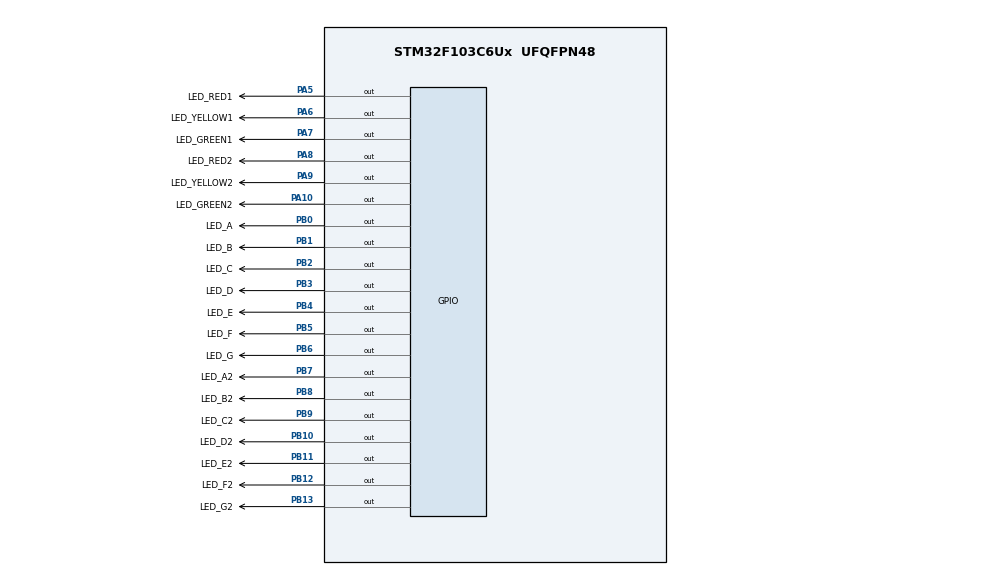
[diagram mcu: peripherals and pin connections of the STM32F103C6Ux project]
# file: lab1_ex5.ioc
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Mcu.Family=STM32F1
Mcu.Name=STM32F103C6Ux
Mcu.Package=UFQFPN48
NVIC.PriorityGroup=NVIC_PRIORITYGROUP_4
PA10.GPIO_Label=LED_GREEN2
PA10.Signal=GPIO_Output
PA5.GPIO_Label=LED_RED1
PA5.Signal=GPIO_Output
PA6.GPIO_Label=LED_YELLOW1
PA6.Signal=GPIO_Output
PA7.GPIO_Label=LED_GREEN1
PA7.Signal=GPIO_Output
PA8.GPIO_Label=LED_RED2
PA8.Signal=GPIO_Output
PA9.GPIO_Label=LED_YELLOW2
PA9.Signal=GPIO_Output
PB0.GPIO_Label=LED_A
PB0.Signal=GPIO_Output
PB1.GPIO_Label=LED_B
PB1.Signal=GPIO_Output
PB10.GPIO_Label=LED_D2
PB10.Signal=GPIO_Output
PB11.GPIO_Label=LED_E2
PB11.Signal=GPIO_Output
PB12.GPIO_Label=LED_F2
PB12.Signal=GPIO_Output
PB13.GPIO_Label=LED_G2
PB13.Signal=GPIO_Output
PB2.GPIO_Label=LED_C
PB2.Signal=GPIO_Output
PB3.GPIO_Label=LED_D
PB3.Signal=GPIO_Output
PB4.GPIO_Label=LED_E
PB4.Signal=GPIO_Output
PB5.GPIO_Label=LED_F
PB5.Signal=GPIO_Output
PB6.GPIO_Label=LED_G
PB6.Signal=GPIO_Output
PB7.GPIO_Label=LED_A2
PB7.Signal=GPIO_Output
PB8.GPIO_Label=LED_B2
PB8.Signal=GPIO_Output
PB9.GPIO_Label=LED_C2
PB9.Signal=GPIO_Output
ProjectManager.HeapSize=0x200
ProjectManager.StackSize=0x400
ProjectManager.TargetToolchain=STM32CubeIDE
RCC.APB1Freq_Value=8000000
RCC.APB2Freq_Value=8000000
VP_SYS_VS_ND.Mode=No_Debug
board=custom

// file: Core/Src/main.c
/* USER CODE BEGIN Header */
/**
  ******************************************************************************
  * @file           : main.c
  * @brief          : Main program body
  ******************************************************************************
  * @attention
  *
  * <h2><center>&copy; Copyright (c) 2023 STMicroelectronics.
  * All rights reserved.</center></h2>
  *
  * This software component is licensed by ST under BSD 3-Clause license,
  * the "License"; You may not use this file except in compliance with the
  * License. You may obtain a copy of the License at:
  *                        opensource.org/licenses/BSD-3-Clause
  *
  ******************************************************************************
  */
/* USER CODE END Header */
#include "main.h"

void SystemClock_Config(void);
static void MX_GPIO_Init(void);

int main(void)
{

  /* MCU Configuration--------------------------------------------------------*/

  /* Reset of all peripherals, Initializes the Flash interface and the Systick. */
  HAL_Init();

  /* Configure the system clock */
  SystemClock_Config();

  /* Initialize all configured peripherals */
  MX_GPIO_Init();

  /* Infinite loop */
  /* USER CODE BEGIN WHILE */

  void display7SEG(int num){
  	  HAL_GPIO_WritePin(LED_A_GPIO_Port, LED_A_Pin, RESET);
  	  HAL_GPIO_WritePin(LED_B_GPIO_Port, LED_B_Pin, RESET);
  	  HAL_GPIO_WritePin(LED_C_GPIO_Port, LED_C_Pin, RESET);
  	  HAL_GPIO_WritePin(LED_D_GPIO_Port, LED_D_Pin, RESET);
  	  HAL_GPIO_WritePin(LED_E_GPIO_Port, LED_E_Pin, RESET);
  	  HAL_GPIO_WritePin(LED_F_GPIO_Port, LED_F_Pin, RESET);
  	  HAL_GPIO_WritePin(LED_G_GPIO_Port, LED_G_Pin, RESET);
  	  if (num == 0 ){
  		  HAL_GPIO_WritePin(LED_G_GPIO_Port, LED_G_Pin, SET);
  	  }
  	  else if (num == 1){
  		  HAL_GPIO_WritePin(LED_A_GPIO_Port, LED_A_Pin, SET);
  		  HAL_GPIO_WritePin(LED_D_GPIO_Port, LED_D_Pin, SET);
  		  HAL_GPIO_WritePin(LED_E_GPIO_Port, LED_E_Pin, SET);
  		  HAL_GPIO_WritePin(LED_F_GPIO_Port, LED_F_Pin, SET);
  		  HAL_GPIO_WritePin(LED_G_GPIO_Port, LED_G_Pin, SET);
  	  }
  	  else if (num == 2){
  		  HAL_GPIO_WritePin(LED_C_GPIO_Port, LED_C_Pin, SET);
  		  HAL_GPIO_WritePin(LED_F_GPIO_Port, LED_F_Pin, SET);
  	  }
  	  else if (num == 3){
  		  HAL_GPIO_WritePin(LED_E_GPIO_Port, LED_E_Pin, SET);
  		  HAL_GPIO_WritePin(LED_F_GPIO_Port, LED_F_Pin, SET);
  	  }
  	  else if (num == 4){
  		  HAL_GPIO_WritePin(LED_A_GPIO_Port, LED_A_Pin, SET);
  		  HAL_GPIO_WritePin(LED_D_GPIO_Port, LED_D_Pin, SET);
  		  HAL_GPIO_WritePin(LED_E_GPIO_Port, LED_E_Pin, SET);
  	  }
  	  else if (num == 5){
  		  HAL_GPIO_WritePin(LED_B_GPIO_Port, LED_B_Pin, SET);
  		  HAL_GPIO_WritePin(LED_E_GPIO_Port, LED_E_Pin, SET);
  	  }
  	  else if (num == 6){
  		  HAL_GPIO_WritePin(LED_B_GPIO_Port, LED_B_Pin, SET);
  	  }
  	  else if (num == 7){
  		  HAL_GPIO_WritePin(LED_D_GPIO_Port, LED_D_Pin, SET);
  		  HAL_GPIO_WritePin(LED_E_GPIO_Port, LED_E_Pin, SET);
  		  HAL_GPIO_WritePin(LED_F_GPIO_Port, LED_F_Pin, SET);
  		  HAL_GPIO_WritePin(LED_G_GPIO_Port, LED_G_Pin, SET);
  	  }
  	  else if (num == 8){

  	  }
  	  else if (num == 9){
  		  HAL_GPIO_WritePin(LED_E_GPIO_Port, LED_E_Pin, SET);
  	  }
    }

  //display7SEG2 to display LED7SEGMENT2
    void display7SEG2(int num){
    	  HAL_GPIO_WritePin(LED_A2_GPIO_Port, LED_A2_Pin, RESET);
    	  HAL_GPIO_WritePin(LED_B2_GPIO_Port, LED_B2_Pin, RESET);
    	  HAL_GPIO_WritePin(LED_C2_GPIO_Port, LED_C2_Pin, RESET);
    	  HAL_GPIO_WritePin(LED_D2_GPIO_Port, LED_D2_Pin, RESET);
    	  HAL_GPIO_WritePin(LED_E2_GPIO_Port, LED_E2_Pin, RESET);
    	  HAL_GPIO_WritePin(LED_F2_GPIO_Port, LED_F2_Pin, RESET);
    	  HAL_GPIO_WritePin(LED_G2_GPIO_Port, LED_G2_Pin, RESET);
    	  if (num == 0 ){
    		  HAL_GPIO_WritePin(LED_G2_GPIO_Port, LED_G2_Pin, SET);
    	  }
    	  else if (num == 1){
    		  HAL_GPIO_WritePin(LED_A2_GPIO_Port, LED_A2_Pin, SET);
    		  HAL_GPIO_WritePin(LED_D2_GPIO_Port, LED_D2_Pin, SET);
    		  HAL_GPIO_WritePin(LED_E2_GPIO_Port, LED_E2_Pin, SET);
    		  HAL_GPIO_WritePin(LED_F2_GPIO_Port, LED_F2_Pin, SET);
    		  HAL_GPIO_WritePin(LED_G2_GPIO_Port, LED_G2_Pin, SET);
    	  }
    	  else if (num == 2){
    		  HAL_GPIO_WritePin(LED_C2_GPIO_Port, LED_C2_Pin, SET);
    		  HAL_GPIO_WritePin(LED_F2_GPIO_Port, LED_F2_Pin, SET);
    	  }
    	  else if (num == 3){
    		  HAL_GPIO_WritePin(LED_E2_GPIO_Port, LED_E2_Pin, SET);
    		  HAL_GPIO_WritePin(LED_F2_GPIO_Port, LED_F2_Pin, SET);
    	  }
    	  else if (num == 4){
    		  HAL_GPIO_WritePin(LED_A2_GPIO_Port, LED_A2_Pin, SET);
    		  HAL_GPIO_WritePin(LED_D2_GPIO_Port, LED_D2_Pin, SET);
    		  HAL_GPIO_WritePin(LED_E2_GPIO_Port, LED_E2_Pin, SET);
    	  }
    	  else if (num == 5){
    		  HAL_GPIO_WritePin(LED_B2_GPIO_Port, LED_B2_Pin, SET);
    		  HAL_GPIO_WritePin(LED_E2_GPIO_Port, LED_E2_Pin, SET);
    	  }
    	  else if (num == 6){
    		  HAL_GPIO_WritePin(LED_B2_GPIO_Port, LED_B2_Pin, SET);
    	  }
    	  else if (num == 7){
    		  HAL_GPIO_WritePin(LED_D2_GPIO_Port, LED_D2_Pin, SET);
    		  HAL_GPIO_WritePin(LED_E2_GPIO_Port, LED_E2_Pin, SET);
    		  HAL_GPIO_WritePin(LED_F2_GPIO_Port, LED_F2_Pin, SET);
    		  HAL_GPIO_WritePin(LED_G2_GPIO_Port, LED_G2_Pin, SET);
    	  }
    	  else if (num == 8){

    	  }
    	  else if (num == 9){
    		  HAL_GPIO_WritePin(LED_E2_GPIO_Port, LED_E2_Pin, SET);
    	  }
      }

    int time = 0;
    int status = 0;
   // status = 0(red1);	status = 1(green1);	status = 2(yellow1)
  while (1)
  {
	  if(status == 0){
	 		  if(time < 3 ){
	 		      HAL_GPIO_WritePin(LED_RED1_GPIO_Port, LED_RED1_Pin, SET);
	 			  HAL_GPIO_WritePin(LED_YELLOW1_GPIO_Port, LED_YELLOW1_Pin, RESET);
	 			  HAL_GPIO_WritePin(LED_GREEN1_GPIO_Port, LED_GREEN1_Pin, RESET);
	 			  HAL_GPIO_WritePin(LED_RED2_GPIO_Port, LED_RED2_Pin, RESET);
	 			  HAL_GPIO_WritePin(LED_YELLOW2_GPIO_Port, LED_YELLOW2_Pin, RESET);
	 			  HAL_GPIO_WritePin(LED_GREEN2_GPIO_Port, LED_GREEN2_Pin, SET);
	 			  display7SEG(5-time);
	 			  display7SEG2(3-time);
	 			  time++;

	 		  }
	 		  else if(time >=3 && time < 4){
	 			  HAL_GPIO_WritePin(LED_RED1_GPIO_Port, LED_RED1_Pin, SET);
	 			  HAL_GPIO_WritePin(LED_YELLOW1_GPIO_Port, LED_YELLOW1_Pin, RESET);
	 			  HAL_GPIO_WritePin(LED_GREEN1_GPIO_Port, LED_GREEN1_Pin, RESET);
	 			  HAL_GPIO_WritePin(LED_RED2_GPIO_Port, LED_RED2_Pin, RESET);
	 			  HAL_GPIO_WritePin(LED_YELLOW2_GPIO_Port, LED_YELLOW2_Pin, SET);
	 			  HAL_GPIO_WritePin(LED_GREEN2_GPIO_Port, LED_GREEN2_Pin, RESET);
	 			  display7SEG(5-time);
	 			  display7SEG2(5-time);
	 			  time++;

	 		  }
	 		  else {
	 			 display7SEG(5-time);
	 			 display7SEG2(5-time);
	 		     time = 0;
	 		     status = 1;
	 		  }

	 	  }
	 	  else if(status == 1){
	 		  if(time<2){
	 			  HAL_GPIO_WritePin(LED_RED1_GPIO_Port, LED_RED1_Pin, RESET);
	 			  HAL_GPIO_WritePin(LED_YELLOW1_GPIO_Port, LED_YELLOW1_Pin, RESET);
	 			  HAL_GPIO_WritePin(LED_GREEN1_GPIO_Port, LED_GREEN1_Pin, SET);
	 			  HAL_GPIO_WritePin(LED_RED2_GPIO_Port, LED_RED2_Pin, SET);
	 			  HAL_GPIO_WritePin(LED_YELLOW2_GPIO_Port, LED_YELLOW2_Pin, RESET);
	 			  HAL_GPIO_WritePin(LED_GREEN2_GPIO_Port, LED_GREEN2_Pin, RESET);
	 			  display7SEG(3-time);
	 			  display7SEG2(5-time);
	 			  time++;
	 		  }
	 		  else {
	 			  display7SEG(3-time);
	 			  display7SEG2(5-time);
	 			  time = 0;
	 			  status = 2;
	 		  }
	 	  }
	 	  else if(status == 2){
	 		  if(time<1){
	 		  HAL_GPIO_WritePin(LED_RED1_GPIO_Port, LED_RED1_Pin, RESET);
	 		  HAL_GPIO_WritePin(LED_YELLOW1_GPIO_Port, LED_YELLOW1_Pin, SET);
	 		  HAL_GPIO_WritePin(LED_GREEN1_GPIO_Port, LED_GREEN1_Pin, RESET);
	 		  HAL_GPIO_WritePin(LED_RED2_GPIO_Port, LED_RED2_Pin, SET);
	 		  HAL_GPIO_WritePin(LED_YELLOW2_GPIO_Port, LED_YELLOW2_Pin, RESET);
	 		  HAL_GPIO_WritePin(LED_GREEN2_GPIO_Port, LED_GREEN2_Pin, RESET);
	 		  display7SEG(2-time);
	 		  display7SEG2(2-time);
	 		  time++;
	 		  }
	 		  else{
	 			  display7SEG(2-time);
	 			  display7SEG2(2-time);
	 			  time=0;
	 			  status = 0;
	 		  }
	 	  }
	 	  HAL_Delay(1000);
    /* USER CODE END WHILE */

  }
}

void SystemClock_Config(void)
{
  RCC_OscInitTypeDef RCC_OscInitStruct = {0};
  RCC_ClkInitTypeDef RCC_ClkInitStruct = {0};

  /** Initializes the RCC Oscillators according to the specified parameters
  * in the RCC_OscInitTypeDef structure.
  */
  RCC_OscInitStruct.OscillatorType = RCC_OSCILLATORTYPE_HSI;
  RCC_OscInitStruct.HSIState = RCC_HSI_ON;
  RCC_OscInitStruct.HSICalibrationValue = RCC_HSICALIBRATION_DEFAULT;
  RCC_OscInitStruct.PLL.PLLState = RCC_PLL_NONE;
  if (HAL_RCC_OscConfig(&RCC_OscInitStruct) != HAL_OK)
  {
    Error_Handler();
  }
  /** Initializes the CPU, AHB and APB buses clocks
  */
  RCC_ClkInitStruct.ClockType = RCC_CLOCKTYPE_HCLK|RCC_CLOCKTYPE_SYSCLK
                              |RCC_CLOCKTYPE_PCLK1|RCC_CLOCKTYPE_PCLK2;
  RCC_ClkInitStruct.SYSCLKSource = RCC_SYSCLKSOURCE_HSI;
  RCC_ClkInitStruct.AHBCLKDivider = RCC_SYSCLK_DIV1;
  RCC_ClkInitStruct.APB1CLKDivider = RCC_HCLK_DIV1;
  RCC_ClkInitStruct.APB2CLKDivider = RCC_HCLK_DIV1;

  if (HAL_RCC_ClockConfig(&RCC_ClkInitStruct, FLASH_LATENCY_0) != HAL_OK)
  {
    Error_Handler();
  }
}

static void MX_GPIO_Init(void)
{
  GPIO_InitTypeDef GPIO_InitStruct = {0};

  /* GPIO Ports Clock Enable */
  __HAL_RCC_GPIOA_CLK_ENABLE();
  __HAL_RCC_GPIOB_CLK_ENABLE();

  /*Configure GPIO pin Output Level */
  HAL_GPIO_WritePin(GPIOA, LED_RED1_Pin|LED_YELLOW1_Pin|LED_GREEN1_Pin|LED_RED2_Pin
                          |LED_YELLOW2_Pin|LED_GREEN2_Pin, GPIO_PIN_RESET);

  /*Configure GPIO pin Output Level */
  HAL_GPIO_WritePin(GPIOB, LED_A_Pin|LED_B_Pin|LED_C_Pin|LED_D2_Pin
                          |LED_E2_Pin|LED_F2_Pin|LED_G2_Pin|LED_D_Pin
                          |LED_E_Pin|LED_F_Pin|LED_G_Pin|LED_A2_Pin
                          |LED_B2_Pin|LED_C2_Pin, GPIO_PIN_RESET);

  /*Configure GPIO pins : LED_RED1_Pin LED_YELLOW1_Pin LED_GREEN1_Pin LED_RED2_Pin
                           LED_YELLOW2_Pin LED_GREEN2_Pin */
  GPIO_InitStruct.Pin = LED_RED1_Pin|LED_YELLOW1_Pin|LED_GREEN1_Pin|LED_RED2_Pin
                          |LED_YELLOW2_Pin|LED_GREEN2_Pin;
  GPIO_InitStruct.Mode = GPIO_MODE_OUTPUT_PP;
  GPIO_InitStruct.Pull = GPIO_NOPULL;
  GPIO_InitStruct.Speed = GPIO_SPEED_FREQ_LOW;
  HAL_GPIO_Init(GPIOA, &GPIO_InitStruct);

  /*Configure GPIO pins : LED_A_Pin LED_B_Pin LED_C_Pin LED_D2_Pin
                           LED_E2_Pin LED_F2_Pin LED_G2_Pin LED_D_Pin
                           LED_E_Pin LED_F_Pin LED_G_Pin LED_A2_Pin
                           LED_B2_Pin LED_C2_Pin */
  GPIO_InitStruct.Pin = LED_A_Pin|LED_B_Pin|LED_C_Pin|LED_D2_Pin
                          |LED_E2_Pin|LED_F2_Pin|LED_G2_Pin|LED_D_Pin
                          |LED_E_Pin|LED_F_Pin|LED_G_Pin|LED_A2_Pin
                          |LED_B2_Pin|LED_C2_Pin;
  GPIO_InitStruct.Mode = GPIO_MODE_OUTPUT_PP;
  GPIO_InitStruct.Pull = GPIO_NOPULL;
  GPIO_InitStruct.Speed = GPIO_SPEED_FREQ_LOW;
  HAL_GPIO_Init(GPIOB, &GPIO_InitStruct);

}

void Error_Handler(void)
{
  __disable_irq();
  while (1)
  {
  }
}

/************************ (C) COPYRIGHT STMicroelectronics *****END OF FILE****/
